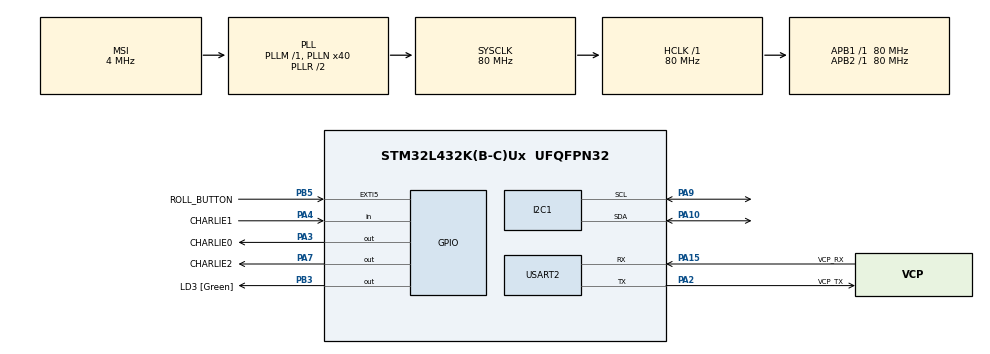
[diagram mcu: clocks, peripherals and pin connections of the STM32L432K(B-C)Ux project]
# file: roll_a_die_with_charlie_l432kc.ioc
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I2C1.Timing=0x10909CEC
Mcu.Family=STM32L4
Mcu.Name=STM32L432K(B-C)Ux
Mcu.Package=UFQFPN32
NVIC.EXTI9_5_IRQn=true\:0\:0\:false\:false\:true\:true\:true\:true
NVIC.PriorityGroup=NVIC_PRIORITYGROUP_4
NVIC.RNG_IRQn=true\:0\:0\:false\:false\:true\:true\:true\:true
PA0.GPIO_Label=MCO [High speed clock in]
PA0.Mode=HSE-External-Clock-Source-for-LittleOrca
PA0.Signal=RCC_CK_IN
PA10.Mode=I2C
PA10.Signal=I2C1_SDA
PA13\ (JTMS-SWDIO).GPIO_Label=SWDIO
PA13\ (JTMS-SWDIO).Mode=Serial_Wire
PA13\ (JTMS-SWDIO).Signal=SYS_JTMS-SWDIO
PA14\ (JTCK-SWCLK).GPIO_Label=SWCLK
PA14\ (JTCK-SWCLK).Mode=Serial_Wire
PA14\ (JTCK-SWCLK).Signal=SYS_JTCK-SWCLK
PA15\ (JTDI).GPIO_Label=VCP_RX
PA15\ (JTDI).Mode=Asynchronous
PA15\ (JTDI).Signal=USART2_RX
PA2.GPIO_Label=VCP_TX
PA2.Mode=Asynchronous
PA2.Signal=USART2_TX
PA3.GPIO_Label=CHARLIE0
PA3.Signal=GPIO_Output
PA4.GPIO_Label=CHARLIE1
PA4.Signal=GPIO_Input
PA7.GPIO_Label=CHARLIE2
PA7.Signal=GPIO_Output
PA9.Mode=I2C
PA9.Signal=I2C1_SCL
PB3\ (JTDO-TRACESWO).GPIO_Label=LD3 [Green]
PB3\ (JTDO-TRACESWO).Signal=GPIO_Output
PB5.GPIO_Label=ROLL_BUTTON
PB5.GPIO_ModeDefaultEXTI=GPIO_MODE_IT_FALLING
PB5.GPIO_PuPd=GPIO_NOPULL
PB5.Signal=GPXTI5
PC14-OSC32_IN\ (PC14).Mode=LSE-External-Oscillator
PC14-OSC32_IN\ (PC14).Signal=RCC_OSC32_IN
PC15-OSC32_OUT\ (PC15).Mode=LSE-External-Oscillator
PC15-OSC32_OUT\ (PC15).Signal=RCC_OSC32_OUT
ProjectManager.HeapSize=0x200
ProjectManager.StackSize=0x400
ProjectManager.TargetToolchain=STM32CubeIDE
RCC.ADCFreq_Value=32000000
RCC.AHBFreq_Value=80000000
RCC.APB1Freq_Value=80000000
RCC.APB1TimFreq_Value=80000000
RCC.APB2Freq_Value=80000000
RCC.APB2TimFreq_Value=80000000
RCC.CortexFreq_Value=80000000
RCC.HCLKFreq_Value=80000000
RCC.HSE_VALUE=8000000
RCC.HSI16_VALUE=16000000
RCC.HSI48_VALUE=48000000
RCC.HSI_VALUE=16000000
RCC.MSI_VALUE=4000000
RCC.PLLMUL=RCC_PLLMUL_4
RCC.PLLN=40
RCC.PLLSAI1N=16
RCC.SYSCLKFreq_VALUE=80000000
RCC.SYSCLKSource=RCC_SYSCLKSOURCE_PLLCLK
RCC.USBFreq_Value=32000000
RCC.VCOOutputFreq_Value=160000000
USART2.VirtualMode-Asynchronous=VM_ASYNC
VP_RNG_VS_RNG.Mode=RNG_Activate
board=NUCLEO-L432KC

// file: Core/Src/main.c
/* USER CODE BEGIN Header */
/**
 ******************************************************************************
 * @file           : main.c
 * @brief          : Main program body
 ******************************************************************************
 * @attention
 *
 * Copyright (c) 2023 STMicroelectronics.
 * All rights reserved.
 *
 * This software is licensed under terms that can be found in the LICENSE file
 * in the root directory of this software component.
 * If no LICENSE file comes with this software, it is provided AS-IS.
 *
 ******************************************************************************
 */
/* USER CODE END Header */
#include "main.h"
#include "i2c.h"
#include "rng.h"
#include "usart.h"
#include "gpio.h"

/* USER CODE BEGIN Includes */
#include <math.h>
#include <stdio.h>
#include <stdlib.h>
#include <string.h>
#include "ssd1306.h"
#include "charlie_die.h"
/* USER CODE END Includes */

/* USER CODE BEGIN PD */
#define ROLLING_SPEED_INVERSE 1000
/* USER CODE END PD */

/* USER CODE BEGIN PV */
volatile uint8_t rng_flag = 0;
uint32_t roll_a_die_raw;
uint32_t die_face_stats[6];
uint8_t die_face;
volatile uint8_t roll_the_die;
char lcd_line[32];
uint32_t softTimerOLED;
/* USER CODE END PV */

void SystemClock_Config(void);
/* USER CODE BEGIN PFP */

void HAL_GPIO_EXTI_Callback(uint16_t GPIO_Pin)
{
	if (GPIO_Pin == ROLL_BUTTON_Pin)
	{
		roll_the_die = 10;
	}
}

/* USER CODE END PFP */

int main(void)
{

	/* MCU Configuration--------------------------------------------------------*/

	/* Reset of all peripherals, Initializes the Flash interface and the Systick. */
	HAL_Init();

	/* Configure the system clock */
	SystemClock_Config();

	/* Initialize all configured peripherals */
	MX_GPIO_Init();
	MX_USART2_UART_Init();
	MX_RNG_Init();
	MX_I2C1_Init();
	/* USER CODE BEGIN 2 */

	HAL_RNG_GenerateRandomNumber_IT(&hrng);

	ssd1306_Init();
	ssd1306_Fill(Black);
	ssd1306_SetCursor(20, 0);
	ssd1306_WriteString("ufnalski.edu.pl", Font_6x8, White);
	ssd1306_SetCursor(2, 11);
	ssd1306_WriteString("Roll a die [RNG] with", Font_6x8, White);
	ssd1306_SetCursor(2, 22);
	ssd1306_WriteString("Charlie[plexing] demo", Font_6x8, White);

	ssd1306_UpdateScreen();

	softTimerOLED = HAL_GetTick();

	/* USER CODE END 2 */

	/* Infinite loop */
	/* USER CODE BEGIN WHILE */
	while (1)
	{
		if ((roll_the_die > 0) && (1 == rng_flag)
				&& (HAL_GetTick() - softTimerOLED
						> ROLLING_SPEED_INVERSE / roll_the_die))
		{
			rng_flag = 0;
			roll_the_die -= 1;
			softTimerOLED = HAL_GetTick();

			roll_a_die_raw = HAL_RNG_ReadLastRandomNumber(&hrng);
			die_face = RawRandomTo6FaceDie(roll_a_die_raw);
			AddToDieStats(&die_face_stats[0], die_face);
			HAL_RNG_GenerateRandomNumber_IT(&hrng);

			switch (die_face)
			// distribution of random numbers
			{
			case 1:
				ssd1306_SetCursor(2, 35);
				sprintf(lcd_line, "([1]): %3li  [2] : %3li", die_face_stats[0],
						die_face_stats[1]);
				ssd1306_WriteString(lcd_line, Font_6x8, White);
				ssd1306_SetCursor(2, 45);
				sprintf(lcd_line, " [3] : %3li  [4] : %3li", die_face_stats[2],
						die_face_stats[3]);
				ssd1306_WriteString(lcd_line, Font_6x8, White);
				ssd1306_SetCursor(2, 55);
				sprintf(lcd_line, " [5] : %3li  [6] : %3li", die_face_stats[4],
						die_face_stats[5]);
				ssd1306_WriteString(lcd_line, Font_6x8, White);
				break;
			case 2:
				ssd1306_SetCursor(2, 35);
				sprintf(lcd_line, " [1] : %3li ([2]): %3li", die_face_stats[0],
						die_face_stats[1]);
				ssd1306_WriteString(lcd_line, Font_6x8, White);
				ssd1306_SetCursor(2, 45);
				sprintf(lcd_line, " [3] : %3li  [4] : %3li", die_face_stats[2],
						die_face_stats[3]);
				ssd1306_WriteString(lcd_line, Font_6x8, White);
				ssd1306_SetCursor(2, 55);
				sprintf(lcd_line, " [5] : %3li  [6] : %3li", die_face_stats[4],
						die_face_stats[5]);
				ssd1306_WriteString(lcd_line, Font_6x8, White);
				break;
			case 3:
				ssd1306_SetCursor(2, 35);
				sprintf(lcd_line, " [1] : %3li  [2] : %3li", die_face_stats[0],
						die_face_stats[1]);
				ssd1306_WriteString(lcd_line, Font_6x8, White);
				ssd1306_SetCursor(2, 45);
				sprintf(lcd_line, "([3]): %3li  [4] : %3li", die_face_stats[2],
						die_face_stats[3]);
				ssd1306_WriteString(lcd_line, Font_6x8, White);
				ssd1306_SetCursor(2, 55);
				sprintf(lcd_line, " [5] : %3li  [6] : %3li", die_face_stats[4],
						die_face_stats[5]);
				ssd1306_WriteString(lcd_line, Font_6x8, White);
				break;
			case 4:
				ssd1306_SetCursor(2, 35);
				sprintf(lcd_line, " [1] : %3li  [2] : %3li", die_face_stats[0],
						die_face_stats[1]);
				ssd1306_WriteString(lcd_line, Font_6x8, White);
				ssd1306_SetCursor(2, 45);
				sprintf(lcd_line, " [3] : %3li ([4]): %3li", die_face_stats[2],
						die_face_stats[3]);
				ssd1306_WriteString(lcd_line, Font_6x8, White);
				ssd1306_SetCursor(2, 55);
				sprintf(lcd_line, " [5] : %3li  [6] : %3li", die_face_stats[4],
						die_face_stats[5]);
				ssd1306_WriteString(lcd_line, Font_6x8, White);
				break;
			case 5:
				ssd1306_SetCursor(2, 35);
				sprintf(lcd_line, " [1] : %3li  [2] : %3li", die_face_stats[0],
						die_face_stats[1]);
				ssd1306_WriteString(lcd_line, Font_6x8, White);
				ssd1306_SetCursor(2, 45);
				sprintf(lcd_line, " [3] : %3li  [4] : %3li", die_face_stats[2],
						die_face_stats[3]);
				ssd1306_WriteString(lcd_line, Font_6x8, White);
				ssd1306_SetCursor(2, 55);
				sprintf(lcd_line, "([5]): %3li  [6] : %3li", die_face_stats[4],
						die_face_stats[5]);
				ssd1306_WriteString(lcd_line, Font_6x8, White);
				break;
			case 6:
				ssd1306_SetCursor(2, 35);
				sprintf(lcd_line, " [1] : %3li  [2] : %3li", die_face_stats[0],
						die_face_stats[1]);
				ssd1306_WriteString(lcd_line, Font_6x8, White);
				ssd1306_SetCursor(2, 45);
				sprintf(lcd_line, " [3] : %3li  [4] : %3li", die_face_stats[2],
						die_face_stats[3]);
				ssd1306_WriteString(lcd_line, Font_6x8, White);
				ssd1306_SetCursor(2, 55);
				sprintf(lcd_line, " [5] : %3li ([6]): %3li", die_face_stats[4],
						die_face_stats[5]);
				ssd1306_WriteString(lcd_line, Font_6x8, White);
				break;
			default:
				;
			}
			ssd1306_UpdateScreen();
		}

		switch (die_face)
		// diodes
		{
		case 1:
			DisplayDieFace1();
			break;
		case 2:
			DisplayDieFace2();
			break;
		case 3:
			DisplayDieFace3();
			break;
		case 4:
			DisplayDieFace4();
			break;
		case 5:
			DisplayDieFace5();
			break;
		case 6:
			DisplayDieFace6();
			break;
		default:
			;
		}

		/* USER CODE END WHILE */

	}
}

void SystemClock_Config(void)
{
	RCC_OscInitTypeDef RCC_OscInitStruct =
	{ 0 };
	RCC_ClkInitTypeDef RCC_ClkInitStruct =
	{ 0 };

	/** Configure the main internal regulator output voltage
	 */
	if (HAL_PWREx_ControlVoltageScaling(PWR_REGULATOR_VOLTAGE_SCALE1) != HAL_OK)
	{
		Error_Handler();
	}

	/** Configure LSE Drive Capability
	 */
	HAL_PWR_EnableBkUpAccess();
	__HAL_RCC_LSEDRIVE_CONFIG(RCC_LSEDRIVE_LOW);

	/** Initializes the RCC Oscillators according to the specified parameters
	 * in the RCC_OscInitTypeDef structure.
	 */
	RCC_OscInitStruct.OscillatorType = RCC_OSCILLATORTYPE_LSE
			| RCC_OSCILLATORTYPE_MSI;
	RCC_OscInitStruct.LSEState = RCC_LSE_ON;
	RCC_OscInitStruct.MSIState = RCC_MSI_ON;
	RCC_OscInitStruct.MSICalibrationValue = 0;
	RCC_OscInitStruct.MSIClockRange = RCC_MSIRANGE_6;
	RCC_OscInitStruct.PLL.PLLState = RCC_PLL_ON;
	RCC_OscInitStruct.PLL.PLLSource = RCC_PLLSOURCE_MSI;
	RCC_OscInitStruct.PLL.PLLM = 1;
	RCC_OscInitStruct.PLL.PLLN = 40;
	RCC_OscInitStruct.PLL.PLLP = RCC_PLLP_DIV7;
	RCC_OscInitStruct.PLL.PLLQ = RCC_PLLQ_DIV2;
	RCC_OscInitStruct.PLL.PLLR = RCC_PLLR_DIV2;
	if (HAL_RCC_OscConfig(&RCC_OscInitStruct) != HAL_OK)
	{
		Error_Handler();
	}

	/** Initializes the CPU, AHB and APB buses clocks
	 */
	RCC_ClkInitStruct.ClockType = RCC_CLOCKTYPE_HCLK | RCC_CLOCKTYPE_SYSCLK
			| RCC_CLOCKTYPE_PCLK1 | RCC_CLOCKTYPE_PCLK2;
	RCC_ClkInitStruct.SYSCLKSource = RCC_SYSCLKSOURCE_PLLCLK;
	RCC_ClkInitStruct.AHBCLKDivider = RCC_SYSCLK_DIV1;
	RCC_ClkInitStruct.APB1CLKDivider = RCC_HCLK_DIV1;
	RCC_ClkInitStruct.APB2CLKDivider = RCC_HCLK_DIV1;

	if (HAL_RCC_ClockConfig(&RCC_ClkInitStruct, FLASH_LATENCY_4) != HAL_OK)
	{
		Error_Handler();
	}

	/** Enable MSI Auto calibration
	 */
	HAL_RCCEx_EnableMSIPLLMode();
}

/* USER CODE BEGIN 4 */
void HAL_RNG_ReadyDataCallback(RNG_HandleTypeDef *hrng, uint32_t random32bit)
{
	rng_flag = 1;
}

/* USER CODE END 4 */

void Error_Handler(void)
{
	__disable_irq();
	while (1)
	{
	}
}
